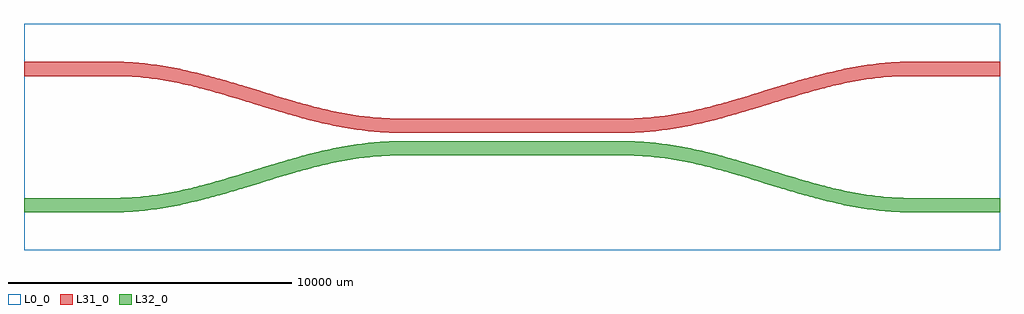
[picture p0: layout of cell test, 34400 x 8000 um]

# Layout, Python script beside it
import argparse

import gdstk
import meep as mp


gds_file = "coupler.gds"
CELL_LAYER = 0
PORT1_LAYER = 1
PORT2_LAYER = 2
PORT3_LAYER = 3
PORT4_LAYER = 4
SOURCE_LAYER = 5
UPPER_BRANCH_LAYER = 31
LOWER_BRANCH_LAYER = 32
default_d = 0.3

t_oxide = 1.0
t_Si = 0.22
t_air = 0.78

dpml = 1
cell_thickness = dpml + t_oxide + t_Si + t_air + dpml

oxide = mp.Medium(epsilon=2.25)
silicon = mp.Medium(epsilon=12)

fcen = 1 / 1.55
df = 0.2 * fcen


def get_gds_cell(fname):
    """Returns the (single) top-level cell of the GDS file `fname`."""
    return gdstk.read_gds(fname).top_level()[0]


def get_gds_prisms(material, cell, layer, datatype=0, zmin=0.0, zmax=0.0):
    """Returns a list of `mp.Prism`s, one for each polygon on (`layer`, `datatype`)."""
    prisms = []
    for poly in cell.get_polygons(layer=layer, datatype=datatype):
        vertices = [mp.Vector3(x, y, zmin) for x, y in poly.points]
        prisms.append(
            mp.Prism(
                vertices,
                height=zmax - zmin,
                axis=mp.Vector3(0, 0, 1),
                material=material,
            )
        )
    return prisms


def get_gds_vol(cell, layer, datatype=0, zmin=0.0, zmax=0.0):
    """Returns an `mp.Volume` spanning the bounding box of (`layer`, `datatype`)."""
    polygons = cell.get_polygons(layer=layer, datatype=datatype)
    xs = [x for poly in polygons for x, y in poly.points]
    ys = [y for poly in polygons for x, y in poly.points]
    xmin, xmax = min(xs), max(xs)
    ymin, ymax = min(ys), max(ys)
    center = mp.Vector3(0.5 * (xmin + xmax), 0.5 * (ymin + ymax), 0.5 * (zmin + zmax))
    size = mp.Vector3(xmax - xmin, ymax - ymin, zmax - zmin)
    dims = 2 if (zmin == 0 and zmax == 0) else 3
    return mp.Volume(center=center, size=size, dims=dims)


def main(args):
    cell_zmax = 0.5 * cell_thickness if args.three_d else 0
    cell_zmin = -0.5 * cell_thickness if args.three_d else 0
    si_zmax = 0.5 * t_Si if args.three_d else 10
    si_zmin = -0.5 * t_Si if args.three_d else -10

    # read cell size, volumes for source region and flux monitors,
    # and coupler geometry from the GDS file using gdstk
    gds_cell = get_gds_cell(gds_file)

    upper_branch = get_gds_prisms(
        silicon, gds_cell, UPPER_BRANCH_LAYER, zmin=si_zmin, zmax=si_zmax
    )
    lower_branch = get_gds_prisms(
        silicon, gds_cell, LOWER_BRANCH_LAYER, zmin=si_zmin, zmax=si_zmax
    )

    cell = get_gds_vol(gds_cell, CELL_LAYER, zmin=cell_zmin, zmax=cell_zmax)
    p1 = get_gds_vol(gds_cell, PORT1_LAYER, zmin=si_zmin, zmax=si_zmax)
    p2 = get_gds_vol(gds_cell, PORT2_LAYER, zmin=si_zmin, zmax=si_zmax)
    p3 = get_gds_vol(gds_cell, PORT3_LAYER, zmin=si_zmin, zmax=si_zmax)
    p4 = get_gds_vol(gds_cell, PORT4_LAYER, zmin=si_zmin, zmax=si_zmax)
    src_vol = get_gds_vol(gds_cell, SOURCE_LAYER, zmin=si_zmin, zmax=si_zmax)

    # displace upper and lower branches of coupler (as well as source and flux regions)
    if args.d != default_d:
        delta_y = 0.5 * (args.d - default_d)
        delta = mp.Vector3(y=delta_y)
        p1.center += delta
        p2.center -= delta
        p3.center += delta
        p4.center -= delta
        src_vol.center += delta
        cell.size += 2 * delta
        for np in range(len(lower_branch)):
            lower_branch[np].center -= delta
            for nv in range(len(lower_branch[np].vertices)):
                lower_branch[np].vertices[nv] -= delta
        for np in range(len(upper_branch)):
            upper_branch[np].center += delta
            for nv in range(len(upper_branch[np].vertices)):
                upper_branch[np].vertices[nv] += delta

    geometry = upper_branch + lower_branch

    if args.three_d:
        oxide_center = mp.Vector3(z=-0.5 * t_oxide)
        oxide_size = mp.Vector3(cell.size.x, cell.size.y, t_oxide)
        oxide_layer = [mp.Block(material=oxide, center=oxide_center, size=oxide_size)]
        geometry = geometry + oxide_layer

    sources = [
        mp.EigenModeSource(
            src=mp.GaussianSource(fcen, fwidth=df),
            volume=src_vol,
            eig_parity=mp.NO_PARITY if args.three_d else mp.EVEN_Y + mp.ODD_Z,
        )
    ]

    sim = mp.Simulation(
        resolution=args.res,
        cell_size=cell.size,
        boundary_layers=[mp.PML(dpml)],
        sources=sources,
        geometry=geometry,
    )

    mode1 = sim.add_mode_monitor(fcen, 0, 1, mp.ModeRegion(volume=p1))
    mode2 = sim.add_mode_monitor(fcen, 0, 1, mp.ModeRegion(volume=p2))
    mode3 = sim.add_mode_monitor(fcen, 0, 1, mp.ModeRegion(volume=p3))
    mode4 = sim.add_mode_monitor(fcen, 0, 1, mp.ModeRegion(volume=p4))

    sim.run(until_after_sources=100)

    # S parameters
    p1_coeff = sim.get_eigenmode_coefficients(
        mode1, [1], eig_parity=mp.NO_PARITY if args.three_d else mp.EVEN_Y + mp.ODD_Z
    ).alpha[0, 0, 0]
    p2_coeff = sim.get_eigenmode_coefficients(
        mode2, [1], eig_parity=mp.NO_PARITY if args.three_d else mp.EVEN_Y + mp.ODD_Z
    ).alpha[0, 0, 1]
    p3_coeff = sim.get_eigenmode_coefficients(
        mode3, [1], eig_parity=mp.NO_PARITY if args.three_d else mp.EVEN_Y + mp.ODD_Z
    ).alpha[0, 0, 0]
    p4_coeff = sim.get_eigenmode_coefficients(
        mode4, [1], eig_parity=mp.NO_PARITY if args.three_d else mp.EVEN_Y + mp.ODD_Z
    ).alpha[0, 0, 0]

    # transmittance
    p2_trans = abs(p2_coeff) ** 2 / abs(p1_coeff) ** 2
    p3_trans = abs(p3_coeff) ** 2 / abs(p1_coeff) ** 2
    p4_trans = abs(p4_coeff) ** 2 / abs(p1_coeff) ** 2

    print(f"trans:, {args.d:.2f}, {p2_trans:.6f}, {p3_trans:.6f}, {p4_trans:.6f}")


if __name__ == "__main__":
    parser = argparse.ArgumentParser()
    parser.add_argument(
        "-res", type=int, default=50, help="resolution (default: 50 pixels/um)"
    )
    parser.add_argument(
        "-d", type=float, default=0.1, help="branch separation (default: 0.1 um)"
    )
    parser.add_argument(
        "--three_d",
        action="store_true",
        default=False,
        help="d calculation? (default: False)",
    )
    args = parser.parse_args()
    main(args)
